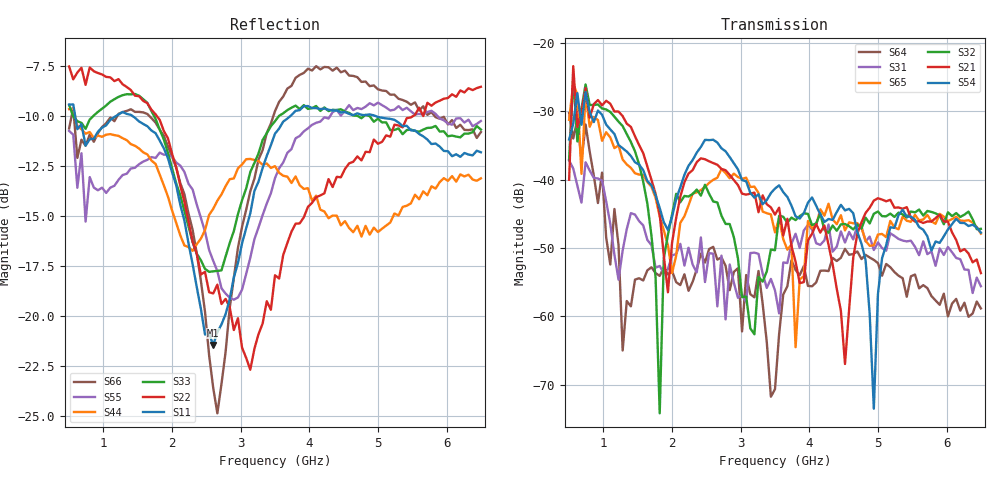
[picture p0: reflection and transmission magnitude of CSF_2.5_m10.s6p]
!Keysight Technologies,M9804A,MY58100912,A.14.10.03
!Date: Thursday, April 27, 2023 10:28:33
!Correction: S11(C  6-Port  )
!S12(C  6-Port  )
!S13(C  6-Port  )
!S14(C  6-Port  )
!S15(C  6-Port  )
!S16(C  6-Port  )
!S21(C  6-Port  )
!S22(C  6-Port  )
!S23(C  6-Port  )
!S24(C  6-Port  )
!S25(C  6-Port  )
!S26(C  6-Port  )
!S31(C  6-Port  )
!S32(C  6-Port  )
!S33(C  6-Port  )
!S34(C  6-Port  )
!S35(C  6-Port  )
!S36(C  6-Port  )
!S41(C  6-Port  )
!S42(C  6-Port  )
!S43(C  6-Port  )
!S44(C  6-Port  )
!S45(C  6-Port  )
!S46(C  6-Port  )
!S51(C  6-Port  )
!S52(C  6-Port  )
!S53(C  6-Port  )
!S54(C  6-Port  )
!S55(C  6-Port  )
!S56(C  6-Port  )
!S61(C  6-Port  )
!S62(C  6-Port  )
!S63(C  6-Port  )
!S64(C  6-Port  )
!S65(C  6-Port  )
!S66(C  6-Port  )
!S6P File: Measurement: :
# Hz S  RI  R 50
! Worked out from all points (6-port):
!   101 points, 500 MHz to 6.5 GHz, reference 50 ohm
!   strongest paths, dB at 500 MHz, 2 GHz, 3.5 GHz, 5 GHz, 6.5 GHz:
!     S54: -34.1, -45.4, -41.3, -56.7, -47.7
!     S21: -40.0, -49.2, -45.1, -42.7, -53.7
!     S32: -37.0, -45.1, -50.3, -44.7, -47.2
!     S65: -31.2, -53.7, -47.7, -48.0, -47.9
!     S31: -37.2, -51.1, -56.2, -49.2, -55.6
!     S64: -30.3, -53.4, -70.6, -52.2, -58.8
!   lowest |S11| = -21.4 dB at 2.6 GHz (marker M1), VSWR 1.19, Z = 42.5 + j2.2 ohm
!   |S11| at or under -10 dB: 589.2 MHz to 1.174 GHz (584.8 MHz wide, 66.3 % of centre); 1.432 GHz to 3.716 GHz (2.284 GHz wide, 88.7 % of centre); 4.979 GHz to end of sweep
